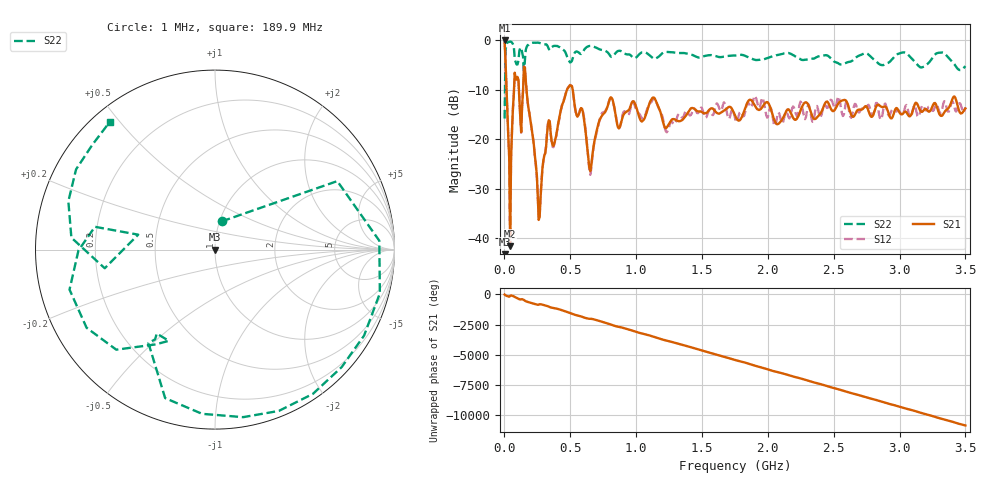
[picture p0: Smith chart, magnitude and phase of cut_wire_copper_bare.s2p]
# GHZ S RI R 50.000000000000
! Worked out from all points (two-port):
!   501 points, 1 MHz to 3.5 GHz, reference 50 ohm
!   highest |S21| = -0.04 dB at 1 MHz (marker M1); lowest = -41.7 dB at 42.99 MHz (marker M2)
!   |S21| within 3 dB of the highest: start of sweep to 5.864 MHz
!   lowest |S11| = - dB at 1 MHz (marker M3), VSWR 1.00, Z = 50 + j0 ohm
!   |S11| at or under -10 dB: start of sweep to end of sweep
!   |S22| runs from -15.8 to -0.3 dB; largest |S21 - S12| = 0.08
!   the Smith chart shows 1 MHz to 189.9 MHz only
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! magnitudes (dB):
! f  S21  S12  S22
! 1 MHz  0.0  -0.1  -15.8
! 21.99 MHz  -14.4  -14.5  -0.4
! 28.99 MHz  -19.5  -19.5  -0.4
! 42.99 MHz  -41.7  -41.5  -0.3
! 91.97 MHz  -7.9  -8.0  -4.9
! 127 MHz  -18.6  -18.7  -1.5
! 162 MHz  -8.2  -8.2  -1.9
! 266.9 MHz  -35.7  -35.6  -0.5
! 336.9 MHz  -16.2  -16.0  -1.8
! 378.9 MHz  -20.8  -21.0  -1.1
! 497.9 MHz  -9.1  -9.0  -4.5
! 588.8 MHz  -13.8  -13.9  -2.6
! 651.8 MHz  -26.5  -27.2  -1.1
! 805.8 MHz  -11.6  -11.7  -3.3
! 868.8 MHz  -17.8  -17.8  -2.1
! 1.17 GHz  -13.5  -13.7  -3.3
! 1.233 GHz  -17.6  -18.6  -2.4
! 1.75 GHz  -15.2  -15.8  -3.1
! 1.904 GHz  -13.4  -11.3  -4.0
! 2.338 GHz  -15.4  -16.5  -3.7
! 2.919 GHz  -15.0  -15.3  -4.5
! 3.5 GHz  -13.8  -13.5  -5.2
